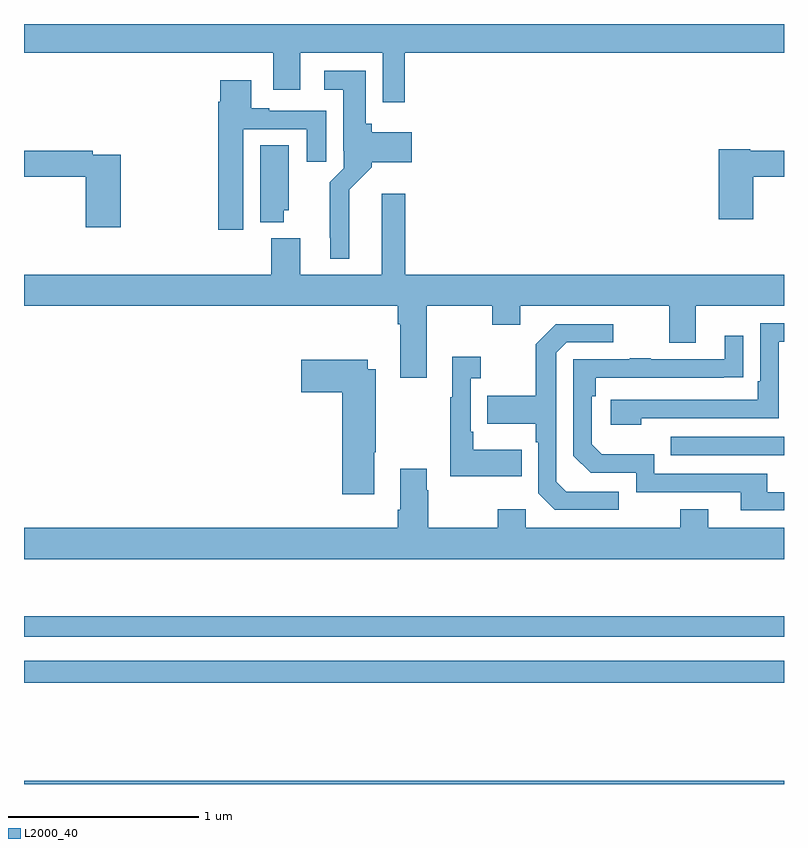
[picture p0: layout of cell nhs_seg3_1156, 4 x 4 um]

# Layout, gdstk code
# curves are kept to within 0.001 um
import gdstk
lib = gdstk.Library(unit=1e-6, precision=1e-09)
def R(c, l, rs):  # rectangles x0, y0, x1, y1
    for r in rs: c.add(gdstk.rectangle(r[:2], r[2:], *l))
def P(c, l, *ps):  # polygons
    for p in ps: c.add(gdstk.Polygon(p, *l))
L2000_40 = (2000, 40)

nhs_seg3_1156 = lib.new_cell('nhs_seg3_1156')
R(nhs_seg3_1156, L2000_40, [(171,698.4,175,698.416), (171,698.932,175,699.048), (171,699.174,175,699.283), (174.403,700.131,175,700.227)])
P(nhs_seg3_1156, L2000_40, [(173.003,702.248),(175,702.248),(175,702.4),(171,702.4),(171,702.248),(172.313,702.248),(172.313,702.054),(172.453,702.054),(172.453,702.248),(172.887,702.248),(172.887,701.988),(173.003,701.988)],
  [(172.711,701.528),(172.829,701.646),(172.829,701.672),(173.041,701.672),(173.041,701.83),(172.829,701.83),(172.829,701.874),(172.798,701.874),(172.798,702.154),(172.581,702.154),(172.581,702.053),(172.679,702.053),(172.679,701.734),(172.683,701.734),(172.683,701.64),(172.609,701.566),(172.609,701.275),(172.613,701.275),(172.613,701.165),(172.711,701.165)],
  [(172.153,701.847),(172.487,701.847),(172.487,701.676),(172.591,701.676),(172.591,701.943),(172.291,701.943),(172.291,701.956),(172.195,701.956),(172.195,702.103),(172.034,702.103),(172.034,701.99),(172.022,701.99),(172.022,701.316),(172.153,701.316)],
  [(172.366,701.421),(172.393,701.421),(172.393,701.762),(172.244,701.762),(172.244,701.357),(172.366,701.357)],
  [(174.839,701.596),(175,701.596),(175,701.732),(174.822,701.732),(174.822,701.74),(174.656,701.74),(174.656,701.373),(174.839,701.373)],
  [(171.509,701.712),(171.362,701.712),(171.362,701.732),(171,701.732),(171,701.596),(171.326,701.596),(171.326,701.331),(171.509,701.331)],
  [(173.119,700.916),(173.464,700.916),(173.464,700.817),(173.611,700.817),(173.611,700.916),(174.395,700.916),(174.395,700.722),(174.535,700.722),(174.535,700.916),(175,700.916),(175,701.08),(173.006,701.08),(173.006,701.506),(172.883,701.506),(172.883,701.08),(172.453,701.08),(172.453,701.272),(172.301,701.272),(172.301,701.08),(171,701.08),(171,700.916),(172.967,700.916),(172.967,700.82),(172.979,700.82),(172.979,700.539),(173.119,700.539)],
  [(174.248,700.326),(174.972,700.326),(174.972,700.728),(175,700.728),(175,700.824),(174.876,700.824),(174.876,700.519),(174.863,700.519),(174.863,700.422),(174.087,700.422),(174.087,700.292),(174.248,700.292)],
  [(174.13,699.939),(173.853,699.939),(173.802,699.99),(173.802,700.671),(173.856,700.725),(174.1,700.725),(174.1,700.821),(173.799,700.821),(173.694,700.715),(173.694,700.443),(173.437,700.443),(173.437,700.295),(173.694,700.295),(173.694,700.199),(173.706,700.199),(173.706,699.93),(173.793,699.843),(174.13,699.843)],
  [(175,699.936),(174.913,699.936),(174.913,700.032),(174.318,700.032),(174.318,700.135),(174.041,700.135),(173.988,700.188),(173.988,700.442),(174.008,700.442),(174.008,700.539),(174.785,700.54),(174.785,700.759),(174.689,700.759),(174.689,700.635),(174.299,700.635),(174.299,700.64),(174.187,700.64),(174.187,700.635),(173.892,700.635),(173.892,700.128),(173.982,700.038),(174.222,700.038),(174.222,699.936),(174.773,699.936),(174.773,699.84),(175,699.84)],
  [(173.621,700.159),(173.365,700.159),(173.365,700.255),(173.352,700.255),(173.352,700.535),(173.404,700.535),(173.404,700.648),(173.255,700.648),(173.255,700.435),(173.244,700.435),(173.244,700.019),(173.621,700.019)],
  [(172.843,700.147),(172.851,700.147),(172.851,700.582),(172.81,700.582),(172.81,700.633),(172.458,700.633),(172.458,700.463),(172.676,700.463),(172.676,699.924),(172.843,699.924)],
  [(175,699.748),(174.601,699.748),(174.601,699.847),(174.454,699.847),(174.454,699.748),(173.64,699.748),(173.64,699.847),(173.494,699.847),(173.494,699.748),(173.127,699.748),(173.127,699.947),(173.119,699.947),(173.119,700.06),(172.979,700.06),(172.979,699.844),(172.967,699.844),(172.967,699.748),(171,699.748),(171,699.584),(175,699.584)])

lib.write_gds('nhs_seg3_1156.gds')
